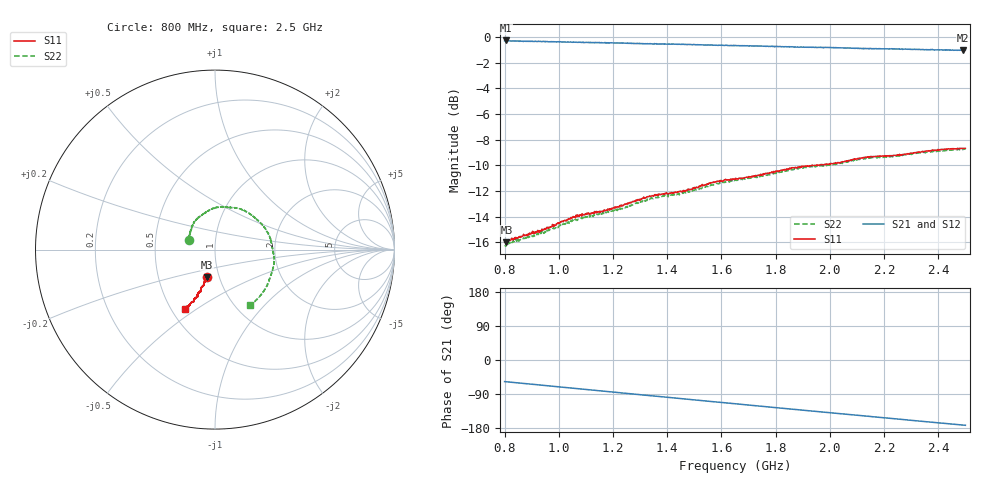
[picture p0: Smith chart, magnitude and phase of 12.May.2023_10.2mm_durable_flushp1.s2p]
!Keysight Technologies N9950B: A.12.38
!Date: Friday, 12 May 2023 16:42:03
!Timezone: (UTC-06:00) Central Time (US & Canada)
!Model: N9950B
!Serial: MY61131330
!GPS Latitude:
!GPS Longitude:
!GPS TimeStamp: 0001-01-01 00:00:00Z
!GPS Seconds Since Last Read: 0
!CHECKSUM:0832783676
!Correction: S11(ON U)S21(ON U)S12(ON U)S22(ON U)
!S2P File: Measurements:S11,S21,S12,S22:
# Hz S DB R 50
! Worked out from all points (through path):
!   1001 points, 800 MHz to 2.5 GHz, reference 50 ohm
!   highest |S21| = -0.26 dB at 805.1 MHz (marker M1); lowest = -1.0 dB at 2.49 GHz (marker M2)
!   group delay of S21, straight-line fit = 189 ps
!   lowest |S11| = -16.0 dB at 806.8 MHz (marker M3), VSWR 1.38, Z = 43.8 - j13.7 ohm
!   |S11| at or under -10 dB: start of sweep to 1.933 GHz; 1.937151 GHz to 1.942258 GHz (5.107 MHz wide, 0.263 % of centre); 1.944301 GHz to 1.946652 GHz (2.351 MHz wide, 0.121 % of centre)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
!   |S22| runs from -16.3 to -8.7 dB; largest |S21 - S12| = 0.0072
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8e8  -15.97 -105.8  -0.29 -57.0  -0.31 -56.9  -16.29 159.1
8.051e8  -15.89 -105.9  -0.26 -57.4  -0.32 -57.3  -16.28 158.8
8.068e8  -15.98 -106.2  -0.30 -57.4  -0.30 -57.3  -16.14 158.3
8.34e8  -15.71 -105.6  -0.31 -59.2  -0.31 -59.2  -15.97 154.8
9.581e8  -14.83 -106.9  -0.35 -67.9  -0.36 -67.9  -15.06 138.6
1.0363e9  -14.14 -107.7  -0.39 -73.4  -0.40 -73.4  -14.39 128.9
1.0839e9  -13.95 -107.4  -0.42 -76.6  -0.41 -76.7  -14.12 121.4
1.157e9  -13.58 -107.7  -0.42 -81.7  -0.45 -81.7  -13.80 111.5
1.2335e9  -13.10 -109.4  -0.45 -87.0  -0.50 -87.0  -13.40 102.8
1.3678e9  -12.31 -109.0  -0.54 -96.1  -0.54 -96.2  -12.51 84.5
1.4613e9  -12.04 -110.3  -0.57 -102.6  -0.59 -102.5  -12.12 72.3
1.5514e9  -11.46 -111.5  -0.62 -108.8  -0.62 -108.7  -11.55 61.4
1.65e9  -11.06 -110.6  -0.65 -115.4  -0.69 -115.4  -11.16 47.8
1.7945e9  -10.48 -113.0  -0.72 -125.3  -0.73 -125.4  -10.62 30.3
1.8863e9  -10.17 -112.2  -0.79 -131.5  -0.80 -131.4  -10.21 17.8
1.9339e9  -9.98 -112.7  -0.78 -134.7  -0.80 -134.6  -10.10 11.7
2.0325e9  -9.78 -114.2  -0.84 -141.3  -0.84 -141.3  -9.86 0.2
2.1141e9  -9.44 -114.6  -0.86 -146.9  -0.87 -146.7  -9.48 -10.1
2.2178e9  -9.27 -114.9  -0.93 -153.7  -0.92 -153.6  -9.30 -23.2
2.3691e9  -8.87 -117.0  -0.99 -163.8  -0.99 -163.8  -8.92 -41.1
2.4898e9  -8.68 -116.6  -1.03 -171.6  -1.02 -171.7  -8.77 -56.8
2.5e9  -8.67 -116.9  -1.00 -172.3  -1.04 -172.4  -8.71 -58.0
